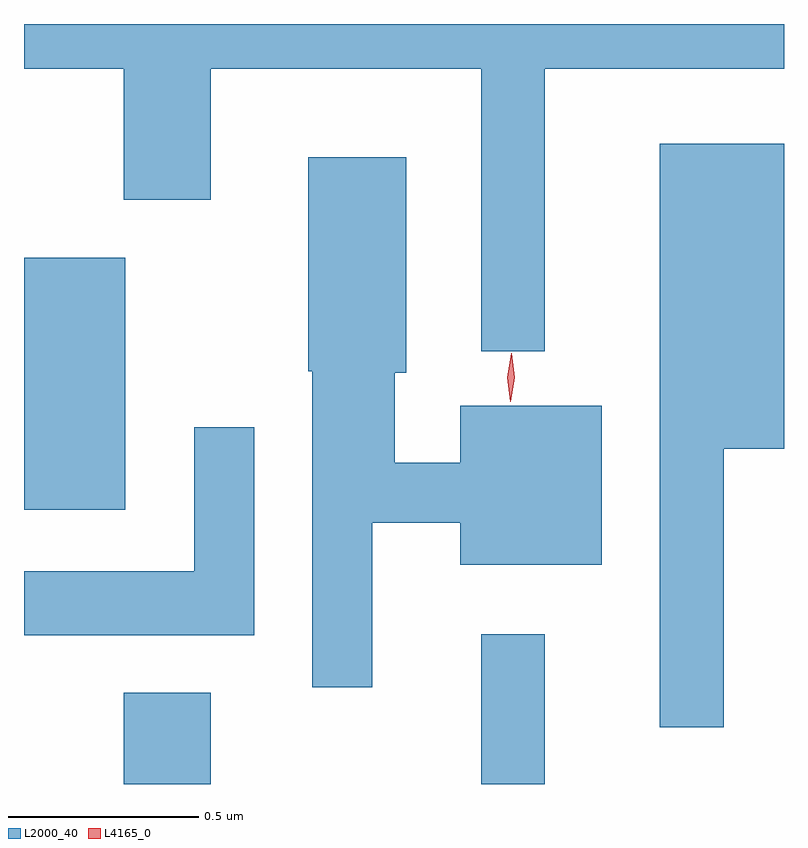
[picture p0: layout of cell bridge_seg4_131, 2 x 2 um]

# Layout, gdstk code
import gdstk
lib = gdstk.Library(unit=1e-6, precision=1e-09)
def R(c, l, rs):  # rectangles x0, y0, x1, y1
    for r in rs: c.add(gdstk.rectangle(r[:2], r[2:], *l))
def P(c, l, *ps):  # polygons
    for p in ps: c.add(gdstk.Polygon(p, *l))
L2000_40 = (2000, 40)
L4165_0 = (4165, 0)

bridge_seg4_131 = lib.new_cell('bridge_seg4_131')
R(bridge_seg4_131, L2000_40, [(878.561,1272.874,878.789,1273.114), (879.501,1272.874,879.669,1273.268), (878.298,1273.596,878.564,1274.259)])
P(bridge_seg4_131, L2000_40, [(879.669,1274.756),(880.298,1274.756),(880.298,1274.874),(878.298,1274.874),(878.298,1274.756),(878.561,1274.756),(878.561,1274.411),(878.789,1274.411),(878.789,1274.756),(879.501,1274.756),(879.501,1274.013),(879.669,1274.013)],
  [(880.139,1273.756),(880.298,1273.756),(880.298,1274.559),(879.971,1274.559),(879.971,1273.023),(880.139,1273.023)],
  [(879.214,1273.561),(879.446,1273.561),(879.446,1273.451),(879.819,1273.451),(879.819,1273.869),(879.446,1273.869),(879.446,1273.719),(879.274,1273.719),(879.274,1273.956),(879.304,1273.956),(879.304,1274.524),(879.046,1274.524),(879.046,1273.96),(879.056,1273.96),(879.056,1273.128),(879.214,1273.128)],
  [(878.904,1273.813),(878.746,1273.813),(878.746,1273.434),(878.298,1273.434),(878.298,1273.266),(878.904,1273.266)])
P(bridge_seg4_131, L4165_0, [(879.578,1273.88),(879.578,1273.88),(879.57,1273.944),(879.58,1274.007),(879.58,1274.007),(879.581,1274.007),(879.59,1273.943),(879.579,1273.88)])

lib.write_gds('bridge_seg4_131.gds')
